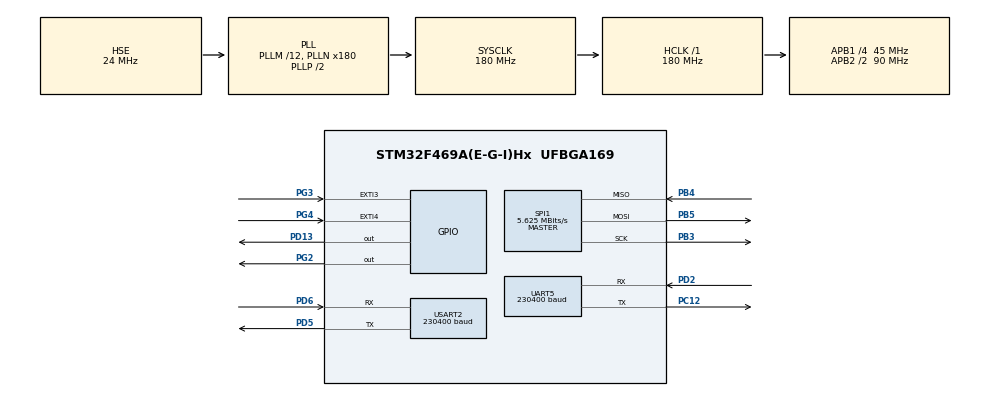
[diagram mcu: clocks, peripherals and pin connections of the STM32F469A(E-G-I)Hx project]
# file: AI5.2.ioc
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Dma.Request0=USART2_RX
Dma.USART2_RX.0.Direction=DMA_PERIPH_TO_MEMORY
Dma.USART2_RX.0.FIFOMode=DMA_FIFOMODE_DISABLE
Dma.USART2_RX.0.Instance=DMA1_Stream5
Dma.USART2_RX.0.MemDataAlignment=DMA_MDATAALIGN_BYTE
Dma.USART2_RX.0.MemInc=DMA_MINC_ENABLE
Dma.USART2_RX.0.Mode=DMA_CIRCULAR
Dma.USART2_RX.0.PeriphDataAlignment=DMA_PDATAALIGN_BYTE
Dma.USART2_RX.0.PeriphInc=DMA_PINC_DISABLE
Dma.USART2_RX.0.Priority=DMA_PRIORITY_LOW
Mcu.Family=STM32F4
Mcu.Name=STM32F469A(E-G-I)Hx
Mcu.Package=UFBGA169
NVIC.DMA1_Stream5_IRQn=true\:0\:0\:false\:false\:true\:false\:true\:true
NVIC.EXTI3_IRQn=true\:0\:0\:false\:false\:true\:true\:true\:true
NVIC.EXTI4_IRQn=true\:0\:0\:false\:false\:true\:true\:true\:true
NVIC.PriorityGroup=NVIC_PRIORITYGROUP_4
NVIC.TIM2_IRQn=true\:0\:0\:false\:false\:true\:true\:true\:true
NVIC.USART2_IRQn=true\:0\:0\:false\:false\:true\:true\:true\:true
PA13.Mode=Serial_Wire
PA13.Signal=SYS_JTMS-SWDIO
PA14.Mode=Serial_Wire
PA14.Signal=SYS_JTCK-SWCLK
PB3.Mode=Full_Duplex_Master
PB3.Signal=SPI1_SCK
PB4.Mode=Full_Duplex_Master
PB4.Signal=SPI1_MISO
PB5.Mode=Full_Duplex_Master
PB5.Signal=SPI1_MOSI
PC12.Mode=Asynchronous
PC12.Signal=UART5_TX
PC14/OSC32_IN.Mode=LSE-External-Oscillator
PC14/OSC32_IN.Signal=RCC_OSC32_IN
PC15/OSC32_OUT.Mode=LSE-External-Oscillator
PC15/OSC32_OUT.Signal=RCC_OSC32_OUT
PD13.Signal=GPIO_Output
PD2.Mode=Asynchronous
PD2.Signal=UART5_RX
PD5.Mode=Asynchronous
PD5.Signal=USART2_TX
PD6.Mode=Asynchronous
PD6.Signal=USART2_RX
PG2.PinState=GPIO_PIN_SET
PG2.Signal=GPIO_Output
PG3.Signal=GPXTI3
PG4.Signal=GPXTI4
PH0/OSC_IN.Mode=HSE-External-Oscillator
PH0/OSC_IN.Signal=RCC_OSC_IN
PH1/OSC_OUT.Mode=HSE-External-Oscillator
PH1/OSC_OUT.Signal=RCC_OSC_OUT
ProjectManager.HeapSize=0x200
ProjectManager.StackSize=0x1000
ProjectManager.TargetToolchain=STM32CubeIDE
RCC.AHBFreq_Value=180000000
RCC.APB1CLKDivider=RCC_HCLK_DIV4
RCC.APB1Freq_Value=45000000
RCC.APB1TimFreq_Value=90000000
RCC.APB2CLKDivider=RCC_HCLK_DIV2
RCC.APB2Freq_Value=90000000
RCC.APB2TimFreq_Value=180000000
RCC.CortexFreq_Value=180000000
RCC.HCLKFreq_Value=180000000
RCC.HSE_VALUE=24000000
RCC.PLLM=12
RCC.PLLN=180
RCC.PLLSourceVirtual=RCC_PLLSOURCE_HSE
RCC.SYSCLKFreq_VALUE=180000000
RCC.SYSCLKSource=RCC_SYSCLKSOURCE_PLLCLK
RCC.USBFreq_Value=90000000
RCC.VCOOutputFreq_Value=360000000
SPI1.BaudRatePrescaler=SPI_BAUDRATEPRESCALER_16
SPI1.CalculateBaudRate=5.625 MBits/s
SPI1.Direction=SPI_DIRECTION_2LINES
SPI1.Mode=SPI_MODE_MASTER
SPI1.VirtualType=VM_MASTER
STMicroelectronics.X-CUBE-AI.6.0.0.ActivationBufferSizeList=56
STMicroelectronics.X-CUBE-AI.6.0.0.HeapSize=0x200
STMicroelectronics.X-CUBE-AI.6.0.0.InternalRamActivationBufferMaxSize=AI_NETWORK_DATA_ACTIVATIONS_SIZE
STMicroelectronics.X-CUBE-AI.6.0.0.LatestDirectoryUsed-55dba97631ff7c6554bf337e89bb675d9f2a28f92a85d211277d5443253d9c43=C\:\\Users\\giaco\\Downloads
STMicroelectronics.X-CUBE-AI.6.0.0.MaximumNumberOfInputLayer=1
STMicroelectronics.X-CUBE-AI.6.0.0.MaximumNumberOfOutputLayer=1
STMicroelectronics.X-CUBE-AI.6.0.0.MaximumSizeOfInputLayer=AI_NETWORK_IN_1_SIZE_BYTES
STMicroelectronics.X-CUBE-AI.6.0.0.MaximumSizeOfOutputLayer=AI_NETWORK_OUT_1_SIZE_BYTES
STMicroelectronics.X-CUBE-AI.6.0.0.ModelActualCompression-55dba97631ff7c6554bf337e89bb675d9f2a28f92a85d211277d5443253d9c43=0.0
STMicroelectronics.X-CUBE-AI.6.0.0.ModelCompression-55dba97631ff7c6554bf337e89bb675d9f2a28f92a85d211277d5443253d9c43=1
STMicroelectronics.X-CUBE-AI.6.0.0.ModelFlashOccupation-55dba97631ff7c6554bf337e89bb675d9f2a28f92a85d211277d5443253d9c43=164
STMicroelectronics.X-CUBE-AI.6.0.0.ModelHashList=55dba97631ff7c6554bf337e89bb675d9f2a28f92a85d211277d5443253d9c43
STMicroelectronics.X-CUBE-AI.6.0.0.ModelKind-55dba97631ff7c6554bf337e89bb675d9f2a28f92a85d211277d5443253d9c43=TFLITE
STMicroelectronics.X-CUBE-AI.6.0.0.ModelMacc-55dba97631ff7c6554bf337e89bb675d9f2a28f92a85d211277d5443253d9c43=61
STMicroelectronics.X-CUBE-AI.6.0.0.ModelName-55dba97631ff7c6554bf337e89bb675d9f2a28f92a85d211277d5443253d9c43=network
STMicroelectronics.X-CUBE-AI.6.0.0.ModelNameList=network
STMicroelectronics.X-CUBE-AI.6.0.0.ModelRamOccupation-55dba97631ff7c6554bf337e89bb675d9f2a28f92a85d211277d5443253d9c43=56
STMicroelectronics.X-CUBE-AI.6.0.0.ModelStructureFile-55dba97631ff7c6554bf337e89bb675d9f2a28f92a85d211277d5443253d9c43=C\:\\Users\\giaco\\Downloads\\modello_asc (1).tflite
STMicroelectronics.X-CUBE-AI.6.0.0.StackSize=0x1000
STMicroelectronics.X-CUBE-AI.6.0.0.WorkingBufferStartAddrList=0xFFFFFFFF
STMicroelectronics.X-CUBE-AI.6.0.0.XAaCUBEAaAICcArtificialOoIntelligenceJjCore=true
STMicroelectronics.X-CUBE-ALGOBUILD.1.3.0.LibraryCcDSPOoLibraryJjDSPOoLibrary=true
STMicroelectronics.X-CUBE-ALGOBUILD.1.3.0.LibraryCcMotionOoLibrariesJjMotionOoLibraries=true
TIM2.Period=1000-1
TIM2.Prescaler=24000-1
UART5.BaudRate=230400
UART5.VirtualMode=Asynchronous
USART2.BaudRate=230400
USART2.Parity=PARITY_NONE
USART2.VirtualMode=VM_ASYNC
VP_CRC_VS_CRC.Mode=CRC_Activate
VP_STMicroelectronics.X-CUBE-AI_VS_ArtificialOoIntelligenceJjXAaCUBEAaAI_6.0.0.Mode=ArtificialOoIntelligenceJjXAaCUBEAaAI
VP_STMicroelectronics.X-CUBE-ALGOBUILD_VS_DSPOoLibraryJjLibrary_1.3.0_1.3.0.Mode=DSPOoLibraryJjLibrary
VP_STMicroelectronics.X-CUBE-ALGOBUILD_VS_MotionOoLibrariesJjLibrary_1.3.0_1.3.0.Mode=MotionOoLibrariesJjLibrary
VP_TIM2_VS_ClockSourceINT.Mode=Internal
board=custom

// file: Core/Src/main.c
/* USER CODE BEGIN Header */
/**
  ******************************************************************************
  * @file           : main.c
  * @brief          : Main program body
  ******************************************************************************
  * @attention
  *
  * Copyright (c) 2023 STMicroelectronics.
  * All rights reserved.
  *
  * This software is licensed under terms that can be found in the LICENSE file
  * in the root directory of this software component.
  * If no LICENSE file comes with this software, it is provided AS-IS.
  *
  ******************************************************************************
  */
/* USER CODE END Header */
#include "main.h"
#include "crc.h"
#include "dma.h"
#include "spi.h"
#include "tim.h"
#include "usart.h"
#include "gpio.h"
#define ARM_MATH_CM4
#include "arm_math.h"
#include "ai_datatypes_defines.h"
#include "ai_platform.h"
#include "network.h"
#include "network_data.h"

/* Include arm_math.h mathematic functions */

/* USER CODE BEGIN PD */

#define DIM 8000
#define SAMPLES  512
#define FFT_SIZE (SAMPLES/2)
#define Fs  20000
#define passo_f  (Fs/2)/(FFT_SIZE);
#define ARM_MATH_CM4
#define N 10

/* USER CODE END PD */

/* USER CODE BEGIN PV */

float32_t fft_in_buf_realX [SAMPLES];
float32_t fft_in_buf_realY [SAMPLES];
float32_t fft_in_buf_realZ [SAMPLES];
float32_t tempX[FFT_SIZE];
float32_t tempY[FFT_SIZE];
float32_t tempZ[FFT_SIZE];
float32_t fft_out_buf_realX[FFT_SIZE];
float32_t fft_out_buf_realY[FFT_SIZE];
float32_t fft_out_buf_realZ[FFT_SIZE];
arm_rfft_fast_instance_f32 fft_handler;
arm_cfft_radix4_instance_f32 fft_handler_cplx;
float32_t massimo;
float32_t valMassimiX[N];
float32_t indX[N];
float32_t valMassimiY[N];
float32_t indY[N];
float32_t valMassimiZ[N];
float32_t indZ[N];
float32_t matriceInput[N][6];

int indmax;
char  buffer_out[100];
uint8_t spiSndX[1];			//Buffer di trasmissione X MSB
uint8_t spiSndY[1];			//Buffer di trasmissione Y MSB
uint8_t spiSndZ[1];			//Buffer di trasmissione Z MSB
uint8_t spiSndXLSB[1];		//Buffer di trasmissione X LSB
uint8_t spiSndYLSB[1];		//Buffer di trasmissione Y LSB
uint8_t spiSndZLSB[1];		//Buffer di trasmissione Z LSB
uint8_t spiRcv[2];			//Buffer di ricezione LSB
uint8_t spiRcvMSB[2];		//Buffer di ricezione MSB
uint8_t spiSnd[2];			//Buffer invio comandi SPI
uint16_t buffer[50]={0};	//Buffer usato per UART5
uint16_t buffer2[300];
uint16_t buffer3[300];
uint8_t a;
float Vettx[DIM];
float Vetty[DIM];
float Vettz[DIM];
volatile uint8_t flag_elapsed = 0;
static ai_buffer *ai_input1;
static ai_buffer *ai_output1;

void uprintf(char* str){
	HAL_UART_Transmit(&huart5, (uint8_t*)str, strlen(str), 100);
}

/* USER CODE END PV */

void SystemClock_Config(void);

int main(void)
{
  /* USER CODE BEGIN 1 */

		spiSndX[0]=0x29|0x80;
	    spiSndY[0]=0x2B|0x80;
		spiSndZ[0]=0x2D|0x80;
		spiSndXLSB[0]=0x28|0x80;
		spiSndYLSB[0]=0x2A|0x80;
		spiSndZLSB[0]=0x2C|0x80;
		uint16_t x[DIM];
		uint16_t y[DIM];
		uint16_t z[DIM];
		int16_t k=0;
		float acc;
		float typ=0.488;
		int i=0;

  /* USER CODE END 1 */

  /* MCU Configuration--------------------------------------------------------*/

  /* Reset of all peripherals, Initializes the Flash interface and the Systick. */
  HAL_Init();

  /* Configure the system clock */
  SystemClock_Config();

  /* Initialize all configured peripherals */
  MX_GPIO_Init();
  MX_DMA_Init();
  MX_SPI1_Init();
  MX_USART2_UART_Init();
  MX_UART5_Init();
  MX_TIM2_Init();
  MX_CRC_Init();
  /* USER CODE BEGIN 2 */

  HAL_UART_MspInit(&huart5);
  HAL_GPIO_WritePin(GPIOG, GPIO_PIN_2, GPIO_PIN_RESET);
  spiSnd[0]=0x10;
  spiSnd[1]=0xA4;
  HAL_SPI_Transmit(&hspi1, spiSnd, 2, 100);
  HAL_GPIO_WritePin(GPIOG, GPIO_PIN_2, GPIO_PIN_SET);
  HAL_TIM_Base_Start(&htim2);

  /* USER CODE END 2 */

  /* Infinite loop */
  /* USER CODE BEGIN WHILE */
  while (i<DIM)
   {
 	 if((flag_elapsed=1))											//La funzione di interrupt abilita il flag per ogni n conteggi selezionati
 	 {
 		 flag_elapsed=0;										//flag=0 in modo che non rientro ma aspetto che sia l'interrupt ad alzarlo

 		//Asse X
 		HAL_GPIO_WritePin(GPIOG, GPIO_PIN_2, GPIO_PIN_RESET);	//Abilito SPI1
 		HAL_SPI_Transmit(&hspi1, spiSndX, 1, 100);				//Trasmetto Indirizzo dove leggere istruzione
 		HAL_SPI_Receive(&hspi1, &spiRcv[0], 1, 100);			//Ricevo Risultato di misura MSB (8bit)
 		HAL_GPIO_WritePin(GPIOG, GPIO_PIN_2, GPIO_PIN_SET);		//Chiudo la comunicazione SPI1
 		HAL_GPIO_WritePin(GPIOG, GPIO_PIN_2, GPIO_PIN_RESET);	//Abilito la comunicazione SPI1 (NON POSSO FARE PIU OPERAZIONI CON UN'UNICA ATTIVAZIONE)
 		HAL_SPI_Transmit(&hspi1, spiSndXLSB, 1, 100);			//Trasmetto Indirizzo dove leggere istruzione
 		HAL_SPI_Receive(&hspi1, &spiRcv[1], 1, 100);			//Ricevo Risultato di misura LSB (8bit)
 		x[i]=((int16_t)spiRcv[0] << 8) | spiRcv[1];				//Unisco MSB e LSB attraverso un'operazione di shift su 16bit
 		HAL_GPIO_WritePin(GPIOG, GPIO_PIN_2, GPIO_PIN_SET);		//Chiudo la comunicazione SPI1
 		k=(int16_t)x[i];										//Casting da uint a int (abilitazione del segno, complemento)
 		acc=(k*typ)/1000;										//Da datasheet, il dato letto, lo converto in scala g attraverso questo calcolo
 		Vettx[i]=acc;											//Aggiungo la misura al vettore delle letture
 		//HAL_UART_Transmit(&huart5,(uint8_t*)"\n \r", 3, HAL_MAX_DELAY);			//Vado da capo

 		spiRcv[0]=0;
 		spiRcv[1]=0;
 		//Asse Y
 		HAL_GPIO_WritePin(GPIOG, GPIO_PIN_2, GPIO_PIN_RESET);	//Abilito SPI1
 		HAL_SPI_Transmit(&hspi1, spiSndY, 1, 100);				//Trasmetto Indirizzo dove leggere istruzione
 		HAL_SPI_Receive(&hspi1, &spiRcv[0], 1, 100);			//Ricevo Risultato di misura MSB (8bit)
 		HAL_GPIO_WritePin(GPIOG, GPIO_PIN_2, GPIO_PIN_SET);		//Chiudo la comunicazione SPI1
 		HAL_GPIO_WritePin(GPIOG, GPIO_PIN_2, GPIO_PIN_RESET);	//Abilito la comunicazione SPI1 (NON POSSO FARE PIU OPERAZIONI CON UN'UNICA ATTIVAZIONE)
 		HAL_SPI_Transmit(&hspi1, spiSndYLSB, 1, 100);			//Trasmetto Indirizzo dove leggere istruzione
 		HAL_SPI_Receive(&hspi1, &spiRcv[1], 1, 100);			//Ricevo Risultato di misura LSB (8bit)
 		y[i]=((int16_t)spiRcv[0] << 8) | spiRcv[1];				//Unisco MSB e LSB attraverso un'operazione di shift su 16bit
 		HAL_GPIO_WritePin(GPIOG, GPIO_PIN_2, GPIO_PIN_SET);		//Chiudo la comunicazione SPI1
 		k=(int16_t)y[i];										//Casting da uint a int (abilitazione del segno, complemento)
 		acc=(k*typ)/1000;										//Da datasheet, il dato letto, lo converto in scala g attraverso questo calcolo
 		Vetty[i]=acc;											//Aggiungo la misura al vettore delle letture
 		//HAL_UART_Transmit(&huart5,(uint8_t*)"\n \r", 3, HAL_MAX_DELAY);			//Vado da capo

 		spiRcv[0]=0;
 		spiRcv[1]=0;
 		//Asse Z												//Si ripetono gli stessi commenti
 		HAL_GPIO_WritePin(GPIOG, GPIO_PIN_2, GPIO_PIN_RESET);
 		HAL_SPI_Transmit(&hspi1, spiSndZ, 1, 100);
 		HAL_SPI_Receive(&hspi1, &spiRcv[0], 1, 100);
 		HAL_GPIO_WritePin(GPIOG, GPIO_PIN_2, GPIO_PIN_SET);
 		HAL_GPIO_WritePin(GPIOG, GPIO_PIN_2, GPIO_PIN_RESET);
 		HAL_SPI_Transmit(&hspi1, spiSndZLSB, 1, 100);
 		HAL_SPI_Receive(&hspi1, &spiRcv[1], 1, 100);
 		z[i]=((int16_t)spiRcv[0] << 8) | spiRcv[1];
 		HAL_GPIO_WritePin(GPIOG, GPIO_PIN_2, GPIO_PIN_SET);
 		k=(int16_t)z[i];
 		acc=(k*typ)/1000;
 		Vettz[i]=acc;
 		//HAL_UART_Transmit(&huart5,(uint8_t*)"\n \r", 3, HAL_MAX_DELAY);			//Vado da capo

 	    i=i+1;															//Incremento la i per spostare le misure nel buffer
 	  }
   }

  /* USER CODE END WHILE */

  /* USER CODE BEGIN 3 */

  HAL_TIM_Base_Stop(&htim2);											//Completate le n=DIM misure, fermo il timer
     HAL_UART_Transmit(&huart5,(uint8_t*)"\n \r", 3, HAL_MAX_DELAY);		//Trasmetto uno spazio per ordine

     //Scrivo le misure relative all'asse X
     /*uprintf("Misure Asse X \n \r");
     for(int j=0; j<DIM; j++){
  	   sprintf(buffer2,"%f \n \r",Vettx[j]); // @suppress("Float formatting support")? No, ho aggiunto manualmente la funzione nel Linker
  	   uprintf(buffer2);
     }

     //Scrivo le misure relative all'asse Y
     uprintf("Misure Asse Y \n \r");
     for(int j=0; j<DIM; j++){
  	  sprintf(buffer2,"%f \n \r",Vetty[j	]); // @suppress("Float formatting support")? No, ho aggiunto manualmente la funzione nel Linker
  	  uprintf(buffer2);
     }

     //Scrivo le misure relative all'asse Z
     uprintf("Misure Asse Z \n \r");
     for(int j=0; j<DIM; j++){
  	  sprintf(buffer2,"%f \n \r",Vettz[j]); // @suppress("Float formatting support")? No, ho aggiunto manualmente la funzione nel Linker
  	  uprintf(buffer2);
     }*/

     //FFT reale

        	  /*Initialize the RFFT*/
        	  arm_rfft_fast_init_f32(&fft_handler, FFT_SIZE);
        	  /* Initialize the CFFT/CIFFT module, intFlag = 0, doBitReverse = 1 */
        	  arm_cfft_radix4_init_f32(&fft_handler_cplx, FFT_SIZE, 0, 1);

        	  //Asse X

        	  for (int j = 0; j < FFT_SIZE; j++) {
        		  		fft_in_buf_realX[j]=((float32_t)((float32_t)Vettx[j]));
        		  		}
        	  arm_rfft_fast_f32(&fft_handler, fft_in_buf_realX, fft_out_buf_realX, 0);
        	  for (int j = 0; j < SAMPLES; j += 2) {
        		  		  			fft_in_buf_realX[j]=(float32_t)((float32_t)Vettx[j/2]);
        		  		  		    //parte immaginaria
        		  		  			fft_in_buf_realX[(j + 1)] = 0;
          	 	 	 	 	 }
          arm_cfft_f32(&fft_handler, fft_in_buf_realX, 0, 1);
          arm_cmplx_mag_f32(fft_in_buf_realX, fft_out_buf_realX, FFT_SIZE);

          //Stampa sulla com
          for(int j = 0; j < FFT_SIZE;j++){

         	  		 //sprintf(buffer3,"%f \n \r",fft_out_buf_realX[j]);
         	  		 //uprintfX(buffer3);
          }

          //Asse Y

          for (int j = 0; j < FFT_SIZE; j++) {
             		  		fft_in_buf_realY[j]=((float32_t)((float32_t)Vetty[j]));
             		  		}
             	  arm_rfft_fast_f32(&fft_handler, fft_in_buf_realX, fft_out_buf_realY, 0);
             	  for (int j = 0; j < SAMPLES; j += 2) {
             		  		  			fft_in_buf_realY[j]=(float32_t)((float32_t)Vetty[j/2]);
             		  		  		    //parte immaginaria
             		  		  			fft_in_buf_realY[(j + 1)] = 0;
               	 	 	 	 	 }
               arm_cfft_f32(&fft_handler, fft_in_buf_realY, 0, 1);
               arm_cmplx_mag_f32(fft_in_buf_realY, fft_out_buf_realY, FFT_SIZE);

           //Asse Z

            for (int j = 0; j < FFT_SIZE; j++) {
                  		  		fft_in_buf_realZ[j]=((float32_t)((float32_t)Vettz[j]));
                  		  		}
                  	  arm_rfft_fast_f32(&fft_handler, fft_in_buf_realZ, fft_out_buf_realZ, 0);
                  	  for (int j = 0; j < SAMPLES; j += 2) {
                  		  		  			fft_in_buf_realZ[j]=(float32_t)((float32_t)Vettz[j/2]);
                  		  		  		    //parte immaginaria
                  		  		  			fft_in_buf_realZ[(j + 1)] = 0;
                    	 	 	 	 	 }
                    arm_cfft_f32(&fft_handler, fft_in_buf_realZ, 0, 1);
                    arm_cmplx_mag_f32(fft_in_buf_realZ, fft_out_buf_realZ, FFT_SIZE);

          //Prendo le N armoniche a magnitude maggiore di X

          for(int j = 0; j<FFT_SIZE;j++){
         	 tempX[j] = (float32_t)fft_out_buf_realX[j];
          }

          for(int j = 0; j<N;j++){

         	 arm_max_f32(tempX, FFT_SIZE, &massimo, &indmax);
         	 valMassimiX[j] = massimo;
         	 indX[j] = indmax*passo_f;
         	 tempX[indmax] = 0;
         	 //sprintf(buffer3,"%f \n \r",valMassimiX[j]);
         	 //uprintf(buffer3);
         	 //sprintf(buffer2,"%f \n \r",indX[j]);
         	 //uprintf(buffer2);
          }

          //Prendo le N armoniche a magnitude maggiore di Y

          for(int j = 0; j<FFT_SIZE;j++){
              	 tempY[j] = (float32_t)fft_out_buf_realY[j];
               }

               for(int j = 0; j<N;j++){

              	 arm_max_f32(tempY, FFT_SIZE, &massimo, &indmax);
              	 valMassimiY[j] = massimo;
              	 indY[j] = indmax*passo_f;
              	 tempY[indmax] = 0;
              	 //sprintf(buffer3,"%f \n \r",valMassimiY[j]);
              	 //uprintf(buffer3);
              	 //sprintf(buffer2,"%f \n \r",indY[j]);
              	 //uprintf(buffer2);
               }

            //Prendo le N armoniche a magnitude maggiore di Z

            for(int j = 0; j<N;j++){
                   	 tempZ[j] = (float32_t)fft_out_buf_realZ[j];
                    }

                    for(int j = 0; j<10;j++){

                   	 arm_max_f32(tempZ, FFT_SIZE, &massimo, &indmax);
                   	 valMassimiZ[j] = massimo;
                   	 indZ[j] = indmax*passo_f;
                   	 tempZ[indmax] = 0;
                   	 //sprintf(buffer3,"%f \n \r",valMassimiZ[j]);
                   	 //uprintf(buffer3);
                   	 //sprintf(buffer2,"%f \n \r",indZ[j]);
                   	 //uprintf(buffer2);
                    }
  //Preparo la matrice con gli input da dare al mio NN

  for(int j=0;j<6;j++){

	  for(int k=0;k<N;k++){

		  if(j==0)
			  matriceInput[k][j] = (float32_t)valMassimiX[k];
		  if(j==1)
			  matriceInput[k][j] = (float32_t)indX[k];
		  if(j==2)
			  matriceInput[k][j] = (float32_t)valMassimiY[k];
		  if(j==3)
			  matriceInput[k][j] = (float32_t)indY[k];
		  if(j==4)
			  matriceInput[k][j] = (float32_t)valMassimiZ[k];
		  if(j==5)
			  matriceInput[k][j] = (float32_t)indZ[k];
	  }
  }

  // Chunk of memory used to hold intermediate values for neural network
  AI_ALIGNED(4) ai_u8 activations[AI_NETWORK_DATA_ACTIVATIONS_SIZE];

  // Buffers used to store input and output tensors
    AI_ALIGNED(4) ai_i8 in_data[AI_NETWORK_IN_1_SIZE_BYTES];
    AI_ALIGNED(4) ai_i8 out_data[AI_NETWORK_OUT_1_SIZE_BYTES];

    // Pointer to our model
    ai_handle network = AI_HANDLE_NULL;

    // Initialize wrapper structs that hold pointers to data and info about the
    // data (tensor height, width, channels)
    ai_buffer ai_input[AI_NETWORK_IN_NUM] = AI_NETWORK_IN;
    ai_buffer ai_output[AI_NETWORK_OUT_NUM] = AI_NETWORK_OUT;

    // Set working memory and get weights/biases from model
     ai_network_params ai_params = {
       AI_NETWORK_DATA_WEIGHTS(ai_network_data_weights_get()),
       AI_NETWORK_DATA_ACTIVATIONS(activations)
     };

     // Set pointers wrapper structs to our data buffers
       ai_input[0].n_batches = 1;
       ai_input[0].data = AI_HANDLE_PTR(in_data);
       ai_output[0].n_batches = 1;
       ai_output[0].data = AI_HANDLE_PTR(out_data);

    // Create instance of neural network

     ai_error ai_err;
     ai_err = ai_network_create(&network, AI_NETWORK_DATA_CONFIG);
     if (ai_err.type != AI_ERROR_NONE)
     {
    	 sprintf(buffer2,"Errore");
    	 uprintf(buffer2);

     }

     // Initialize neural network
     if (!ai_network_init(network, &ai_params))
     {
    	 sprintf(buffer2,"Errore");
    	 uprintf(buffer2);

     }

     // Fill input buffer (use test value)
         for (uint32_t i = 0; i < AI_NETWORK_IN_1_SIZE; i++)
         {
           ((ai_float *)in_data)[i] = (ai_float)matriceInput[0][i];
           sprintf(buffer2,"%f \n \r",((ai_float*)in_data)[i]);
           uprintf(buffer2);

         }

         // Perform inference

         	 ai_i32 nbatch;
             nbatch = ai_network_run(network, &ai_input[0], &ai_output[0]);
             if (nbatch != 1) {

            	 sprintf(buffer2,"Errore");
            	 uprintf(buffer2);

             }

             float y_val;
             y_val = ((float *)out_data)[0];
             sprintf(buffer2,"%f \n \r",y_val);
             uprintf(buffer2);

  /* USER CODE END 3 */
}

void SystemClock_Config(void)
{
  RCC_OscInitTypeDef RCC_OscInitStruct = {0};
  RCC_ClkInitTypeDef RCC_ClkInitStruct = {0};

  /** Configure the main internal regulator output voltage
  */
  __HAL_RCC_PWR_CLK_ENABLE();
  __HAL_PWR_VOLTAGESCALING_CONFIG(PWR_REGULATOR_VOLTAGE_SCALE1);

  /** Initializes the RCC Oscillators according to the specified parameters
  * in the RCC_OscInitTypeDef structure.
  */
  RCC_OscInitStruct.OscillatorType = RCC_OSCILLATORTYPE_HSE;
  RCC_OscInitStruct.HSEState = RCC_HSE_ON;
  RCC_OscInitStruct.PLL.PLLState = RCC_PLL_ON;
  RCC_OscInitStruct.PLL.PLLSource = RCC_PLLSOURCE_HSE;
  RCC_OscInitStruct.PLL.PLLM = 12;
  RCC_OscInitStruct.PLL.PLLN = 180;
  RCC_OscInitStruct.PLL.PLLP = RCC_PLLP_DIV2;
  RCC_OscInitStruct.PLL.PLLQ = 4;
  RCC_OscInitStruct.PLL.PLLR = 2;
  if (HAL_RCC_OscConfig(&RCC_OscInitStruct) != HAL_OK)
  {
    Error_Handler();
  }

  /** Activate the Over-Drive mode
  */
  if (HAL_PWREx_EnableOverDrive() != HAL_OK)
  {
    Error_Handler();
  }

  /** Initializes the CPU, AHB and APB buses clocks
  */
  RCC_ClkInitStruct.ClockType = RCC_CLOCKTYPE_HCLK|RCC_CLOCKTYPE_SYSCLK
                              |RCC_CLOCKTYPE_PCLK1|RCC_CLOCKTYPE_PCLK2;
  RCC_ClkInitStruct.SYSCLKSource = RCC_SYSCLKSOURCE_PLLCLK;
  RCC_ClkInitStruct.AHBCLKDivider = RCC_SYSCLK_DIV1;
  RCC_ClkInitStruct.APB1CLKDivider = RCC_HCLK_DIV4;
  RCC_ClkInitStruct.APB2CLKDivider = RCC_HCLK_DIV2;

  if (HAL_RCC_ClockConfig(&RCC_ClkInitStruct, FLASH_LATENCY_5) != HAL_OK)
  {
    Error_Handler();
  }
}

void Error_Handler(void)
{
  __disable_irq();
  while (1)
  {
  }
}
